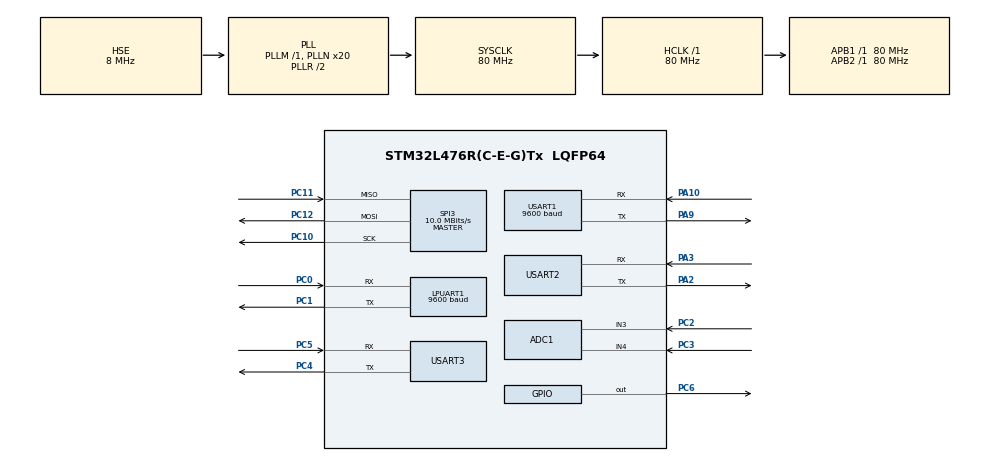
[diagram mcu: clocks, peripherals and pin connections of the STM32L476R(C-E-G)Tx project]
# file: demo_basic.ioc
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ADC1.Channel-0\#ChannelRegularConversion=ADC_CHANNEL_3
ADC1.Channel-1\#ChannelRegularConversion=ADC_CHANNEL_4
ADC1.ClockPrescaler=ADC_CLOCK_ASYNC_DIV4
ADC1.ContinuousConvMode=ENABLE
ADC1.DMAContinuousRequests=ENABLE
ADC1.NbrOfConversion=2
ADC1.NbrOfConversionFlag=1
ADC1.OffsetNumber-0\#ChannelRegularConversion=ADC_OFFSET_NONE
ADC1.OffsetNumber-1\#ChannelRegularConversion=ADC_OFFSET_NONE
ADC1.Rank-0\#ChannelRegularConversion=1
ADC1.Rank-1\#ChannelRegularConversion=2
ADC1.SamplingTime-0\#ChannelRegularConversion=ADC_SAMPLETIME_92CYCLES_5
ADC1.SamplingTime-1\#ChannelRegularConversion=ADC_SAMPLETIME_92CYCLES_5
ADC1.master=1
Dma.ADC1.0.Direction=DMA_PERIPH_TO_MEMORY
Dma.ADC1.0.Instance=DMA1_Channel1
Dma.ADC1.0.MemDataAlignment=DMA_MDATAALIGN_WORD
Dma.ADC1.0.MemInc=DMA_MINC_ENABLE
Dma.ADC1.0.Mode=DMA_CIRCULAR
Dma.ADC1.0.PeriphDataAlignment=DMA_PDATAALIGN_WORD
Dma.ADC1.0.PeriphInc=DMA_PINC_DISABLE
Dma.ADC1.0.Priority=DMA_PRIORITY_LOW
Dma.Request0=ADC1
FREERTOS.Tasks01=iotTask,0,128,iotThread,Default,NULL,Dynamic,NULL,NULL;readPHValTask,-3,128,readPHValThread,Default,NULL,Dynamic,NULL,NULL;readOxygenTask,-2,128,readOxygenThread,Default,NULL,Dynamic,NULL,NULL;initTask,-3,128,initThread,Default,NULL,Dynamic,NULL,NULL
LPUART1.BaudRate=9600
LPUART1.WordLength=UART_WORDLENGTH_8B
Mcu.Family=STM32L4
Mcu.Name=STM32L476R(C-E-G)Tx
Mcu.Package=LQFP64
NVIC.DMA1_Channel1_IRQn=true\:5\:0\:false\:false\:true\:true\:false\:true\:true
NVIC.LPUART1_IRQn=true\:5\:0\:false\:false\:true\:true\:true\:true\:true
NVIC.PriorityGroup=NVIC_PRIORITYGROUP_4
NVIC.TIM1_UP_TIM16_IRQn=true\:0\:0\:false\:false\:true\:false\:false\:true\:true
NVIC.TIM6_DAC_IRQn=true\:5\:0\:false\:false\:true\:true\:true\:true\:true
NVIC.TIM7_IRQn=true\:5\:0\:false\:false\:true\:true\:true\:true\:true
NVIC.TimeBase=TIM1_UP_TIM16_IRQn
NVIC.TimeBaseIP=TIM1
NVIC.USART1_IRQn=true\:5\:0\:false\:false\:true\:true\:true\:true\:true
NVIC.USART2_IRQn=true\:5\:0\:false\:false\:true\:true\:true\:true\:true
NVIC.USART3_IRQn=true\:5\:0\:false\:false\:true\:true\:true\:true\:true
PA10.Mode=Asynchronous
PA10.Signal=USART1_RX
PA13\ (JTMS-SWDIO).Mode=Serial_Wire
PA13\ (JTMS-SWDIO).Signal=SYS_JTMS-SWDIO
PA14\ (JTCK-SWCLK).Mode=Serial_Wire
PA14\ (JTCK-SWCLK).Signal=SYS_JTCK-SWCLK
PA2.Mode=Asynchronous
PA2.Signal=USART2_TX
PA3.Mode=Asynchronous
PA3.Signal=USART2_RX
PA9.Mode=Asynchronous
PA9.Signal=USART1_TX
PC0.Mode=Asynchronous
PC0.Signal=LPUART1_RX
PC1.Mode=Asynchronous
PC1.Signal=LPUART1_TX
PC10.Mode=Full_Duplex_Master
PC10.Signal=SPI3_SCK
PC11.Mode=Full_Duplex_Master
PC11.Signal=SPI3_MISO
PC12.Mode=Full_Duplex_Master
PC12.Signal=SPI3_MOSI
PC2.Signal=ADCx_IN3
PC3.Signal=ADCx_IN4
PC4.Mode=Asynchronous
PC4.Signal=USART3_TX
PC5.Mode=Asynchronous
PC5.Signal=USART3_RX
PC6.Signal=GPIO_Output
PH0-OSC_IN\ (PH0).Mode=HSE-External-Oscillator
PH0-OSC_IN\ (PH0).Signal=RCC_OSC_IN
PH1-OSC_OUT\ (PH1).Mode=HSE-External-Oscillator
PH1-OSC_OUT\ (PH1).Signal=RCC_OSC_OUT
ProjectManager.HeapSize=0x1000
ProjectManager.StackSize=0x1000
ProjectManager.TargetToolchain=MDK-ARM V5.27
RCC.ADCFreq_Value=32000000
RCC.AHBFreq_Value=80000000
RCC.APB1Freq_Value=80000000
RCC.APB1TimFreq_Value=80000000
RCC.APB2Freq_Value=80000000
RCC.APB2TimFreq_Value=80000000
RCC.CortexFreq_Value=80000000
RCC.HCLKFreq_Value=80000000
RCC.HSE_VALUE=8000000
RCC.HSI_VALUE=16000000
RCC.LPUART1CLockSelection=RCC_LPUART1CLKSOURCE_HSI
RCC.LSE_VALUE=32768
RCC.MSI_VALUE=4000000
RCC.PLLN=20
RCC.PLLSourceVirtual=RCC_PLLSOURCE_HSE
RCC.SYSCLKFreq_VALUE=80000000
RCC.SYSCLKSource=RCC_SYSCLKSOURCE_PLLCLK
RCC.USBFreq_Value=32000000
RCC.VCOOutputFreq_Value=160000000
SH.ADCx_IN3.0=ADC1_IN3,IN3-Single-Ended
SH.ADCx_IN4.0=ADC1_IN4,IN4-Single-Ended
SPI3.BaudRatePrescaler=SPI_BAUDRATEPRESCALER_8
SPI3.CLKPhase=SPI_PHASE_2EDGE
SPI3.CLKPolarity=SPI_POLARITY_HIGH
SPI3.CalculateBaudRate=10.0 MBits/s
SPI3.DataSize=SPI_DATASIZE_8BIT
SPI3.Direction=SPI_DIRECTION_2LINES
SPI3.Mode=SPI_MODE_MASTER
SPI3.VirtualType=VM_MASTER
TIM6.Period=3000
TIM6.Prescaler=799
TIM7.Period=40
TIM7.Prescaler=8000
USART1.BaudRate=9600
USART1.VirtualMode-Asynchronous=VM_ASYNC
USART2.VirtualMode-Asynchronous=VM_ASYNC
USART3.VirtualMode-Asynchronous=VM_ASYNC
VP_FREERTOS_VS_CMSIS_V1.Mode=CMSIS_V1
VP_SYS_VS_tim1.Mode=TIM1
VP_TIM6_VS_ClockSourceINT.Mode=Enable_Timer
VP_TIM7_VS_ClockSourceINT.Mode=Enable_Timer
board=custom

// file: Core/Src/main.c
/* USER CODE BEGIN Header */
/**
  ******************************************************************************
  * @file           : main.c
  * @brief          : Main program body
  ******************************************************************************
  * @attention
  *
  * <h2><center>&copy; Copyright (c) 2020 STMicroelectronics.
  * All rights reserved.</center></h2>
  *
  * This software component is licensed by ST under BSD 3-Clause license,
  * the "License"; You may not use this file except in compliance with the
  * License. You may obtain a copy of the License at:
  *                        opensource.org/licenses/BSD-3-Clause
  *
  ******************************************************************************
  */
/* USER CODE END Header */
#include "main.h"
#include "cmsis_os.h"
#include "adc.h"
#include "dma.h"
#include "usart.h"
#include "spi.h"
#include "tim.h"
#include "gpio.h"

/* USER CODE BEGIN Includes */
#include "delay/delay.h"
#include "lcd_1_3/tftlcd.h"
#include "sensor.h"
#include "drv_serial.h"
#include "comm_config.h"
#include "task_config.h"
#include "power/power.h"
#include "bsp_change.h"
#include "modbus/modbus.h"
#include "example_nbiot_aliyun_air.h"
#include "oxygen/oxygen.h"
#include "nbiot.h"
#include "FreeRTOS.h"
#include "semphr.h"

/* USER CODE END Includes */

void SystemClock_Config(void);
void MX_FREERTOS_Init(void);

int main(void)
{
  /* USER CODE BEGIN 1 */
	u8 color=0;

	u8 temperature;
	u8 humidity;
  /* USER CODE END 1 */

  /* MCU Configuration--------------------------------------------------------*/

  /* Reset of all peripherals, Initializes the Flash interface and the Systick. */
  HAL_Init();

  /* Configure the system clock */
  SystemClock_Config();

  /* Initialize all configured peripherals */
  MX_GPIO_Init();
  MX_DMA_Init();
  MX_SPI3_Init();
  MX_TIM6_Init();
  MX_USART2_UART_Init();
  MX_USART3_UART_Init();
  MX_ADC1_Init();
  MX_LPUART1_UART_Init();
  MX_USART1_UART_Init();
  MX_TIM7_Init();
  /* USER CODE BEGIN 2 */
	//printf("Runnung...\r\n");
	delay_init(80);
	drv_serial_init();

	ModBus_Init();

	power_init();

	new_hard_init();

//	while(nbiot_init()){
//
//	}

	LCD_Init();
	//HAL_Delay(2000);

	HAL_GPIO_WritePin(GPIOC, GPIO_PIN_6, GPIO_PIN_RESET);
	HAL_GPIO_WritePin(GPIOC, GPIO_PIN_6, GPIO_PIN_SET);
	osDelay(500000);
  /* USER CODE END 2 */

  /* Call init function for freertos objects (in freertos.c) */
  MX_FREERTOS_Init();
  /* Start scheduler */
  osKernelStart();

  /* We should never get here as control is now taken by the scheduler */
  /* Infinite loop */
  while (1)
  {

  }
}

void SystemClock_Config(void)
{
  RCC_OscInitTypeDef RCC_OscInitStruct = {0};
  RCC_ClkInitTypeDef RCC_ClkInitStruct = {0};
  RCC_PeriphCLKInitTypeDef PeriphClkInit = {0};

  /** Initializes the RCC Oscillators according to the specified parameters
  * in the RCC_OscInitTypeDef structure.
  */
  RCC_OscInitStruct.OscillatorType = RCC_OSCILLATORTYPE_HSI|RCC_OSCILLATORTYPE_HSE;
  RCC_OscInitStruct.HSEState = RCC_HSE_ON;
  RCC_OscInitStruct.HSIState = RCC_HSI_ON;
  RCC_OscInitStruct.HSICalibrationValue = RCC_HSICALIBRATION_DEFAULT;
  RCC_OscInitStruct.PLL.PLLState = RCC_PLL_ON;
  RCC_OscInitStruct.PLL.PLLSource = RCC_PLLSOURCE_HSE;
  RCC_OscInitStruct.PLL.PLLM = 1;
  RCC_OscInitStruct.PLL.PLLN = 20;
  RCC_OscInitStruct.PLL.PLLP = RCC_PLLP_DIV7;
  RCC_OscInitStruct.PLL.PLLQ = RCC_PLLQ_DIV2;
  RCC_OscInitStruct.PLL.PLLR = RCC_PLLR_DIV2;
  if (HAL_RCC_OscConfig(&RCC_OscInitStruct) != HAL_OK)
  {
    Error_Handler();
  }
  /** Initializes the CPU, AHB and APB buses clocks
  */
  RCC_ClkInitStruct.ClockType = RCC_CLOCKTYPE_HCLK|RCC_CLOCKTYPE_SYSCLK
                              |RCC_CLOCKTYPE_PCLK1|RCC_CLOCKTYPE_PCLK2;
  RCC_ClkInitStruct.SYSCLKSource = RCC_SYSCLKSOURCE_PLLCLK;
  RCC_ClkInitStruct.AHBCLKDivider = RCC_SYSCLK_DIV1;
  RCC_ClkInitStruct.APB1CLKDivider = RCC_HCLK_DIV1;
  RCC_ClkInitStruct.APB2CLKDivider = RCC_HCLK_DIV1;

  if (HAL_RCC_ClockConfig(&RCC_ClkInitStruct, FLASH_LATENCY_4) != HAL_OK)
  {
    Error_Handler();
  }
  PeriphClkInit.PeriphClockSelection = RCC_PERIPHCLK_USART1|RCC_PERIPHCLK_USART2
                              |RCC_PERIPHCLK_USART3|RCC_PERIPHCLK_LPUART1
                              |RCC_PERIPHCLK_ADC;
  PeriphClkInit.Usart1ClockSelection = RCC_USART1CLKSOURCE_PCLK2;
  PeriphClkInit.Usart2ClockSelection = RCC_USART2CLKSOURCE_PCLK1;
  PeriphClkInit.Usart3ClockSelection = RCC_USART3CLKSOURCE_PCLK1;
  PeriphClkInit.Lpuart1ClockSelection = RCC_LPUART1CLKSOURCE_HSI;
  PeriphClkInit.AdcClockSelection = RCC_ADCCLKSOURCE_PLLSAI1;
  PeriphClkInit.PLLSAI1.PLLSAI1Source = RCC_PLLSOURCE_HSE;
  PeriphClkInit.PLLSAI1.PLLSAI1M = 1;
  PeriphClkInit.PLLSAI1.PLLSAI1N = 8;
  PeriphClkInit.PLLSAI1.PLLSAI1P = RCC_PLLP_DIV7;
  PeriphClkInit.PLLSAI1.PLLSAI1Q = RCC_PLLQ_DIV2;
  PeriphClkInit.PLLSAI1.PLLSAI1R = RCC_PLLR_DIV2;
  PeriphClkInit.PLLSAI1.PLLSAI1ClockOut = RCC_PLLSAI1_ADC1CLK;
  if (HAL_RCCEx_PeriphCLKConfig(&PeriphClkInit) != HAL_OK)
  {
    Error_Handler();
  }
  /** Configure the main internal regulator output voltage
  */
  if (HAL_PWREx_ControlVoltageScaling(PWR_REGULATOR_VOLTAGE_SCALE1) != HAL_OK)
  {
    Error_Handler();
  }
}

 /**
  * @brief  Period elapsed callback in non blocking mode
  * @note   This function is called  when TIM1 interrupt took place, inside
  * HAL_TIM_IRQHandler(). It makes a direct call to HAL_IncTick() to increment
  * a global variable "uwTick" used as application time base.
  * @param  htim : TIM handle
  * @retval None
  */
void HAL_TIM_PeriodElapsedCallback(TIM_HandleTypeDef *htim)
{
  /* USER CODE BEGIN Callback 0 */
		drv_serial_tim_irhandle(htim);
  /* USER CODE END Callback 0 */
  if (htim->Instance == TIM1) {
    HAL_IncTick();
  }
}

void Error_Handler(void)
{
}

/************************ (C) COPYRIGHT STMicroelectronics *****END OF FILE****/

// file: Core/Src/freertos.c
/* USER CODE BEGIN Header */
/**
  ******************************************************************************
  * File Name          : freertos.c
  * Description        : Code for freertos applications
  ******************************************************************************
  * @attention
  *
  * <h2><center>&copy; Copyright (c) 2022 STMicroelectronics.
  * All rights reserved.</center></h2>
  *
  * This software component is licensed by ST under Ultimate Liberty license
  * SLA0044, the "License"; You may not use this file except in compliance with
  * the License. You may obtain a copy of the License at:
  *                             www.st.com/SLA0044
  *
  ******************************************************************************
  */
/* USER CODE END Header */

#include "FreeRTOS.h"
#include "task.h"
#include "main.h"
#include "cmsis_os.h"

/* USER CODE BEGIN Includes */
#include "usart.h"
#include "lcd_1_3/tftlcd.h"
#include "sensor.h"
#include "drv_serial.h"
#include "comm_config.h"
#include "task_config.h"
#include "power/power.h"
#include "bsp_change.h"
#include "ph/ph.h"
#include "example_nbiot_aliyun_air.h"
#include "oxygen/oxygen.h"
#include "serial_port.h"
#include "modbus/modbus.h"
#include "string.h"

//#include "ph/ph.h"
/* USER CODE END Includes */

/* USER CODE BEGIN Variables */
SemaphoreHandle_t BinarySemaphore;
/* USER CODE END Variables */
osThreadId iotTaskHandle;
osThreadId readPHValTaskHandle;
osThreadId readOxygenTaskHandle;
osThreadId initTaskHandle;

void iotThread(void const * argument);
void readPHValThread(void const * argument);
void readOxygenThread(void const * argument);
void initThread(void const * argument);

void MX_FREERTOS_Init(void); /* (MISRA C 2004 rule 8.1) */

/* GetIdleTaskMemory prototype (linked to static allocation support) */
void vApplicationGetIdleTaskMemory( StaticTask_t **ppxIdleTaskTCBBuffer, StackType_t **ppxIdleTaskStackBuffer, uint32_t *pulIdleTaskStackSize );

/* USER CODE BEGIN GET_IDLE_TASK_MEMORY */
static StaticTask_t xIdleTaskTCBBuffer;
static StackType_t xIdleStack[configMINIMAL_STACK_SIZE];

void vApplicationGetIdleTaskMemory( StaticTask_t **ppxIdleTaskTCBBuffer, StackType_t **ppxIdleTaskStackBuffer, uint32_t *pulIdleTaskStackSize )
{
  *ppxIdleTaskTCBBuffer = &xIdleTaskTCBBuffer;
  *ppxIdleTaskStackBuffer = &xIdleStack[0];
  *pulIdleTaskStackSize = configMINIMAL_STACK_SIZE;
  /* place for user code */
}
/* USER CODE END GET_IDLE_TASK_MEMORY */

void MX_FREERTOS_Init(void) {

  /* Create the thread(s) */
  /* definition and creation of iotTask */
  osThreadDef(iotTask, iotThread, osPriorityNormal, 0, 128);
  iotTaskHandle = osThreadCreate(osThread(iotTask), NULL);

  /* definition and creation of readPHValTask */
  osThreadDef(readPHValTask, readPHValThread, osPriorityIdle, 0, 128);
  readPHValTaskHandle = osThreadCreate(osThread(readPHValTask), NULL);

  /* definition and creation of readOxygenTask */
  osThreadDef(readOxygenTask, readOxygenThread, osPriorityLow, 0, 128);
  readOxygenTaskHandle = osThreadCreate(osThread(readOxygenTask), NULL);

  /* definition and creation of initTask */
  osThreadDef(initTask, initThread, osPriorityIdle, 0, 128);
  initTaskHandle = osThreadCreate(osThread(initTask), NULL);

  /* USER CODE BEGIN RTOS_THREADS */
  /* add threads, ... */

	vTaskSuspend(iotTaskHandle);
	vTaskSuspend(readPHValTaskHandle);
	vTaskSuspend(readOxygenTaskHandle);

  /* USER CODE END RTOS_THREADS */

}

void iotThread(void const * argument)
{
  /* USER CODE BEGIN iotThread */
	//printf("Runnung...\r\n");
		//delay_init(80);
	//drv_serial_init();
//	power_init();
//	new_hard_init();
//	LCD_Init();
	//HAL_Delay(2000);
  /* Infinite loop */
	example_nbiot_aliyun_air_task();
  for(;;)
  {

		//printf("iot Runnung...\r\n");

		osDelay(10000);

  }
  /* USER CODE END iotThread */
}

void readPHValThread(void const * argument)
{
  /* USER CODE BEGIN readPHValThread */
	//定义一个字符串数组
	char Atstr[100];
  /* Infinite loop */
	uint8_t RX_buf[100];
	HAL_UART_Receive_IT(&huart1,(uint8_t *)&(res), 1);
  for(;;)
  {
		printf("readPH Runnung...\r\n");
		//sprintf(Atstr, "page0.t17.txt=\"%2.1f\"\xff\xff\xff", showSpeed);
		//UART1_Sends(tjcstr);   //把字符串发送出去

		//UART1_Sends("AT+PH\r\n");   //把字符串发送出去

    osDelay(1000);
		printf("PH=%.2f",PHsensor.PHvalue);
		//send_data(PHsensor.PHvalue);
  }
  /* USER CODE END readPHValThread */
}

void readOxygenThread(void const * argument)
{
  /* USER CODE BEGIN readOxygenThread */
  /* Infinite loop */

	BaseType_t err=pdFALSE;

	//LPUART1_Send_Data(buf1,buflen1);
	printf("readOxygen Runnung 1\r\n");

	//send_get_oxygenSensor_addr_msg();
	//send_cmd(buf1);
	LPUART1_RX_CNT=0;

	//HAL_UART_Receive_IT(&hlpuart1,LPUART1_RX_BUF,8);
	//TIM_ClearITPendingBit();

//		send_get_attribute();
	//HAL_UART_Receive_IT(&hlpuart1,(uint8_t*)&oxygen_res,1);

//	__HAL_TIM_ENABLE_IT(&htim7,TIM_IT_UPDATE);
//	__HAL_TIM_SetCounter(&htim7,0);
//	__HAL_TIM_ENABLE(&htim7);
	//BinarySemaphore=(SemaphoreHandle_t)1;
	//HAL_TIM_Base_Start_IT(&htim7);

	//send_get_attribute();
	send_set_mode();
	osDelay(10000);
	printf("readOxygen Runnung 2\r\n");
  for(;;)
  {

//		if(BinarySemaphore!=NULL)
//		{
//			err=xSemaphoreTake(BinarySemaphore,portMAX_DELAY);	//获取信号量
//			if(err==pdTRUE)
//			{
//
//				printf("x %s\n",mb_buf_in);
//
//
//			}

		//send digital

		memset(LPUART1_RX_BUF, 0, sizeof(LPUART1_RX_BUF));

		send_get_attribute();

		while(1){
			if(LPUART1_RX_STATUS == 1)
			{
				for(uint8_t i=0;i < 21;i++){
					printf("%x ",LPUART1_RX_BUF[i]);
				}
				  printf("temper = %d \r\n",OxygenSensor.Temperature);
				printf("rate = %d \r\n",OxygenSensor.DissolvedOxygenRate);
				printf("oxygen = %d \r\n",OxygenSensor.DissolvedOxygen);
			     printf("\r\nrec done\r\n");
					 LPUART1_RX_STATUS = 0;
					break;
			}
			osDelay(1);//等待1ms
		}
    osDelay(30000);
//		}
	}
  /* USER CODE END readOxygenThread */
}

void initThread(void const * argument)
{
  /* USER CODE BEGIN initThread */
	printf("init started!...\r\n");
	LCD_Init();
	taskENTER_CRITICAL();           //进入临界区
	vTaskResume(iotTaskHandle);
	vTaskResume(readPHValTaskHandle);
	vTaskResume(readOxygenTaskHandle);
  /* Infinite loop */
//  for(;;)
//  {
//    osDelay(1);
//  }
    vTaskDelete(initTaskHandle); //删除开始任务
		printf("init deleted!...\r\n");
    taskEXIT_CRITICAL();            //退出临界区
  /* USER CODE END initThread */
}

/************************ (C) COPYRIGHT STMicroelectronics *****END OF FILE****/
